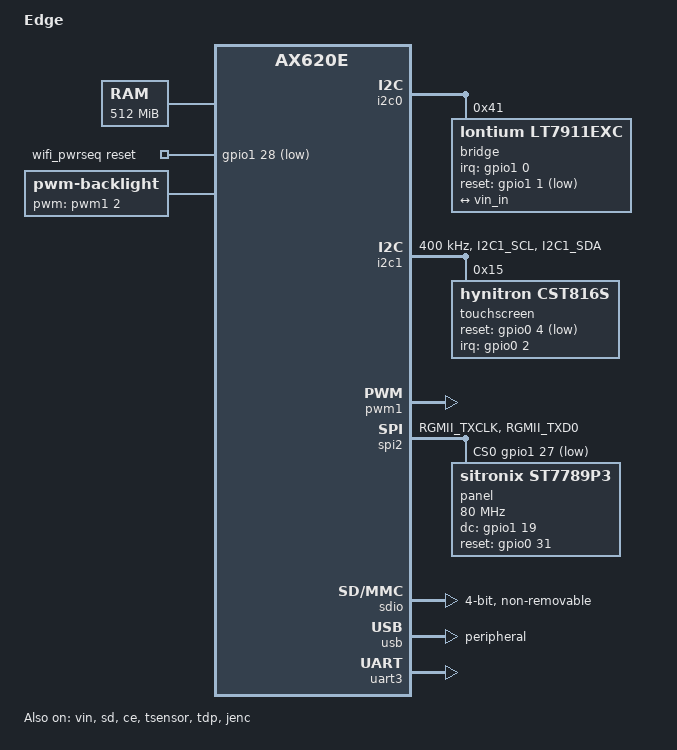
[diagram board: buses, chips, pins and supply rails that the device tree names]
// SPDX-License-Identifier: GPL-2.0-or-later
/*
 * Copyright (c) 2026, GembaHive, Inc.
 */
/dts-v1/;

#include <dt-bindings/gpio/gpio.h>

/* The AArch32 CPU and timer nodes come first, which fixes the DTB node order. */
#include "ax620e-aarch32.dtsi"
#include "arm64/axera/ax620q.dtsi"

/ {
	model = "Edge";
	compatible = "axera,ax620q", "axera,ax620e";

	/* U-Boot's bootargs name /dev/mmcblk1, and console=ttyS3 with [image] serial_console. */
	aliases {
		i2c0 = &i2c0;
		i2c1 = &i2c1;
		mmc1 = &sd;
		spi2 = &spi2;
		serial3 = &uart3;
	};

	/* U-Boot writes the unit's real DRAM size (256 or 512 MiB) here. */
	memory@40000000 {
		device_type = "memory";
		reg = <0x40000000 0x20000000>;
	};

	/* Release the AIC8800 reset before SDIO enumeration. */
	wifi_pwrseq: wifi-pwrseq {
		compatible = "mmc-pwrseq-simple";
		reset-gpios = <&gpio1 28 GPIO_ACTIVE_LOW>;
		post-power-on-delay-ms = <50>;
	};

	reserved-memory {
		#address-cells = <1>;
		#size-cells = <1>;
		ranges;

		/*
		 * Fixed address: the RAM earlycon targets this region's console
		 * zone (0x45f50000).
		 */
		ramoops@45f00000 {
			compatible = "ramoops";
			reg = <0x45f00000 0xf0000>;
			record-size = <0x40000>;
			console-size = <0x80000>;
			ftrace-size = <0x20000>;
			/* The kernel log on every reboot and panic, not only on an oops (KMSG_DUMP_SHUTDOWN). */
			max-reason = <4>;
		};

		/* No linux,cma: it would override the defconfig's CMA_SIZE_PERCENTAGE. */
	};

	/*
	 * /sys/class/backlight/backlight, 0-255 linear. No panel links to it:
	 * unlinked, pwm-backlight lights it at probe. The bootloader leaves the
	 * pad a GPIO driven high; a stopped PWM would drive it low, so the pad
	 * stays the GPIO until this driver has started the PWM.
	 */
	backlight {
		compatible = "pwm-backlight";
		pinctrl-names = "init", "default";
		pinctrl-0 = <&backlight_gpio_pins>;
		pinctrl-1 = <&backlight_pins>;
		pwms = <&pwm1 2 462963 0>;
		brightness-levels = <0 255>;
		num-interpolated-steps = <255>;
		default-brightness-level = <125>;
	};

	thermal-zones {
		soc_thm {
			polling-delay = <1000>;
			polling-delay-passive = <500>;
			thermal-sensors = <&tsensor>;

			trips {
				/* Sensing only: no CPU cooling device. */
				trip-point0 {
					temperature = <85000>;
					hysteresis = <2000>;
					type = "passive";
				};

				trip-point1 {
					temperature = <90000>;
					hysteresis = <5000>;
					type = "hot";
				};

				/* Orderly shutdown before the hardware limit. */
				soc-crit {
					temperature = <105000>;
					hysteresis = <0>;
					type = "critical";
				};

				/* Hardware reset if orderly shutdown cannot finish. */
				soc-tshut {
					temperature = <120000>;
					hysteresis = <0>;
					type = "critical";
				};
			};
		};
	};
};

/* The pads as the stock kernel set them (drive code 3, no schmitt; pull-up on I2C). */
&pinctrl {
	backlight_gpio_pins: backlight-gpio-pins {
		pins = "UART1_TXD";
		function = "gpio";
		drive-strength = <3>;
		input-schmitt-disable;
	};

	backlight_pins: backlight-pins {
		pins = "UART1_TXD";
		function = "pwm";
		drive-strength = <3>;
		input-schmitt-disable;
	};

	i2c1_pins: i2c1-pins {
		pins = "I2C1_SCL", "I2C1_SDA";
		function = "i2c1";
		drive-strength = <3>;
		input-schmitt-disable;
		bias-pull-up;
	};

	/* SCLK and MOSI; chip select is a GPIO. No MISO: the panel is write-only. */
	spi2_pins: spi2-pins {
		pins = "RGMII_TXCLK", "RGMII_TXD0";
		function = "spi_m2";
		drive-strength = <3>;
		input-schmitt-disable;
	};

	/* An interrupt does not request its GPIO, so nothing else muxes this pad. */
	touch_pins: touch-pins {
		pins = "VI_D2";
		function = "gpio";
	};
};

&i2c0 {
	status = "okay";

	bridge@41 {
		compatible = "lontium,lt7911exc";
		reg = <0x41>;
		irq-gpios = <&gpio1 0 GPIO_ACTIVE_HIGH>;
		reset-gpios = <&gpio1 1 GPIO_ACTIVE_LOW>;

		port {
			bridge_out: endpoint {
				remote-endpoint = <&vin_in>;
			};
		};
	};
};

/*
 * The bridge's firmware sets its output: 4 lanes of 8-bit YUV 4:2:2. The
 * board wires clock to physical slot 2 and data to 0, 1, 3, 4.
 */
&vin {
	status = "okay";

	port {
		vin_in: endpoint {
			remote-endpoint = <&bridge_out>;
			clock-lanes = <2>;
			data-lanes = <0 1 3 4>;
		};
	};
};

&i2c1 {
	pinctrl-names = "default";
	pinctrl-0 = <&i2c1_pins>;
	clock-frequency = <400000>;
	i2c-sda-hold-time-ns = <500>;
	status = "okay";

	/* Hynitron CST8xxT, CST816S register map. */
	touchscreen@15 {
		compatible = "hynitron,cst816s";
		reg = <0x15>;
		pinctrl-names = "default";
		pinctrl-0 = <&touch_pins>;
		interrupts-extended = <&gpio0 2 IRQ_TYPE_EDGE_FALLING>;
		reset-gpios = <&gpio0 4 GPIO_ACTIVE_LOW>;
		touchscreen-size-x = <240>;
		touchscreen-size-y = <296>;
		touchscreen-inverted-y;
	};
};

&pwm1 {
	status = "okay";
};

&spi2 {
	pinctrl-names = "default";
	pinctrl-0 = <&spi2_pins>;
	/* A GPIO select: under PIO the native CS0 drops whenever the FIFO drains. */
	cs-gpios = <&gpio1 27 GPIO_ACTIVE_LOW>;
	status = "okay";

	/*
	 * ST7789P3, 240x284 at RAM row 0, /dev/fb0 through DRM's fbdev
	 * emulation. Its init sequence is firmware/<first compatible>.bin, built
	 * in: U-Boot's init sequence without its inversion off, which is the
	 * reset default and would invert the image shown while the sequence
	 * runs. Being write-only, the panel is not reset: U-Boot's logo stays
	 * through the first unblank of fb0, which reinits the panel and fills
	 * it with what fb0 holds.
	 * The bus runs at 208 MHz / 4. mipi_dbi's reset GPIO is high while
	 * running, its D/C high for data.
	 */
	panel@0 {
		compatible = "sitronix,st7789p3", "panel-mipi-dbi-spi";
		reg = <0>;
		/* Required by DRM; physical dimensions are not specified. */
		width-mm = <0>;
		height-mm = <0>;
		spi-max-frequency = <80000000>;
		dc-gpios = <&gpio1 19 GPIO_ACTIVE_HIGH>;
		reset-gpios = <&gpio0 31 GPIO_ACTIVE_HIGH>;
		write-only;

		panel-timing {
			hactive = <240>;
			vactive = <284>;
			hback-porch = <0>;
			vback-porch = <0>;
			clock-frequency = <0>;
			hfront-porch = <0>;
			hsync-len = <0>;
			vfront-porch = <0>;
			vsync-len = <0>;
		};
	};
};

/* The TF card; PHY delays as the stock kernel set them. */
&sd {
	sdhci-caps-mask = <0x7 0x00200000>;
	bus-width = <4>;
	max-frequency = <200000000>;
	cap-sd-highspeed;
	no-sdio;
	no-mmc;
	disable-wp;
	broken-cd;
	cdns,phy-input-delay-sd-highspeed = <2>;
	cdns,phy-input-delay-legacy = <3>;
	cdns,phy-input-delay-sd-uhs-sdr12 = <3>;
	cdns,phy-input-delay-sd-uhs-sdr25 = <2>;
	cdns,phy-input-delay-sd-uhs-sdr50 = <1>;
	cdns,phy-input-delay-sd-uhs-ddr50 = <1>;
	cdns,phy-dll-delay-sdclk = <0>;
	/*
	 * The only card sectors Linux may write (start, count): the two U-Boot
	 * env copies, the root slots, and /data to the end of the card.
	 */
	gemba,writable-sectors = <270336 128>, <278528 128>, <286720 4194304>,
				 <4546560 4290420735>;
	status = "okay";
};

/* AIC8800 at 3.3 V; the stock kernel's working host delays and capability mask. */
&sdio {
	sdhci-caps-mask = <0x7 0x00200000>;
	bus-width = <4>;
	max-frequency = <200000000>;
	cap-sd-highspeed;
	no-1-8-v;
	no-sd;
	no-mmc;
	disable-wp;
	non-removable;
	mmc-pwrseq = <&wifi_pwrseq>;
	cdns,phy-input-delay-sd-highspeed = <4>;
	cdns,phy-input-delay-legacy = <3>;
	cdns,phy-input-delay-sd-uhs-sdr12 = <3>;
	cdns,phy-input-delay-sd-uhs-sdr25 = <2>;
	cdns,phy-input-delay-sd-uhs-sdr50 = <1>;
	cdns,phy-input-delay-sd-uhs-ddr50 = <1>;
	cdns,phy-dll-delay-sdclk = <0>;
	status = "okay";
};

&usb {
	dr_mode = "peripheral";
	status = "okay";
};

&ce {
	status = "okay";
};

&tsensor {
	status = "okay";
};

/* Behind the case; pads on an opened unit. */
&uart3 {
	status = "okay";
};

&tdp {
	status = "okay";
};

&jenc {
	status = "okay";
};
